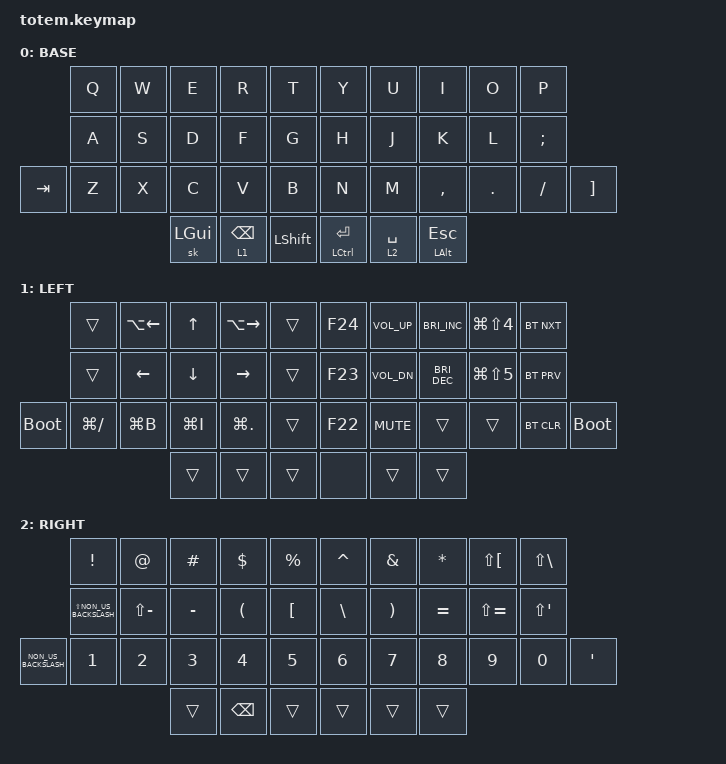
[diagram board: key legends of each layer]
//
//                                                        ▀▀▀▀▀     ▀▀▀▀▀          ▀▀█▀▀
//                                                        ▄▀▀▀▄  ▄  ▄▀▀▀▄  ▄  ▄▀▀▀▄  █  ▄▀▀▀▄
//                                                        █   █  █  █   █  █  █   █  █  █   █
//                                                         ▀▀▀   █   ▀▀▀   █   ▀▀▀   ▀   ▀▀▀
//                                                               █      ▄▄▄█▄▄▄    █   █  
//                                                               ▀      █  █  █     █▄█
//                                                             ▀▀▀▀▀    █  █  █      ▀
//                                                                      ▀  ▀  ▀
//
// ▄▄▄▄▄▄▄▄▄▄▄▄▄▄▄▄▄▄▄▄▄▄▄▄▄▄▄▄▄▄▄▄▄▄▄▄▄▄▄▄▄▄▄▄▄▄▄▄▄▄▄▄▄▄▄▄▄▄▄▄▄▄▄▄▄▄▄▄▄▄▄▄▄▄▄▄▄▄▄▄▄▄▄▄▄▄▄▄▄▄▄▄▄▄▄▄▄▄▄▄▄▄▄▄▄▄▄▄▄▄▄▄▄▄▄▄▄▄▄▄▄▄▄▄▄▄▄▄▄▄▄▄▄▄▄▄▄▄▄▄▄▄▄▄▄▄▄▄▄

#include <behaviors.dtsi>
#include <dt-bindings/zmk/bt.h>
#include <dt-bindings/zmk/keys.h>

#define BASE 0
#define NAV  1
#define SYM  2
#define ADJ  3
#define TVP1 4
#define TVP2 5

&mt {
    quick-tap-ms = <100>;
    global-quick-tap;
    flavor = "tap-preferred";
    tapping-term-ms = <170>;
};

/ {
    combos {
        compatible = "zmk,combos";

        center_bootloader {
            bindings = <&bootloader>;
            key-positions = <20 31>;
            layers = <1>;
        };
    };

    keymap {
        compatible = "zmk,keymap";

        // ▄▄▄▄▄▄▄▄▄▄▄▄▄▄▄▄▄▄▄▄▄▄▄▄▄▄▄▄▄▄▄▄▄▄▄▄▄▄▄▄▄▄▄▄▄▄▄▄▄▄▄▄▄▄▄▄▄▄▄▄▄▄▄▄▄▄▄▄▄▄▄▄▄▄▄▄▄▄▄▄▄▄▄▄▄▄▄▄▄▄▄▄▄▄▄▄▄▄▄▄▄▄▄▄▄▄▄▄▄▄▄▄▄▄▄▄▄▄▄▄▄▄▄▄▄▄▄▄▄▄▄▄▄▄▄▄▄▄▄▄▄▄▄▄▄▄▄▄▄

        base_layer {
            // ┏━━━━━━━━━━━━━━━━━━━━━━━━━━━━━━━━━━━━━━━┓

            label = "BASE";

            // ┗━━━━━━━━━━━━━━━━━━━━━━━━━━━━━━━━━━━━━━━┛
            //             ┏━━━━━━━━━━━┳━━━━━━━━━━━┳━━━━━━━━━━━┳━━━━━━━━━━━┳━━━━━━━━━━━┓   ┏━━━━━━━━━━━┳━━━━━━━━━━━┳━━━━━━━━━━━┳━━━━━━━━━━━┳━━━━━━━━━━━┓
            //             ┃     Q     ┃     W     ┃     F     ┃     P     ┃     G     ┃   ┃     J     ┃     L     ┃     U     ┃     Y     ┃     ;     ┃
            //             ┣━━━━━━━━━━━╋━━━━━━━━━━━╋━━━━━━━━━━━╋━━━━━━━━━━━╋━━━━━━━━━━━┫   ┣━━━━━━━━━━━╋━━━━━━━━━━━╋━━━━━━━━━━━╋━━━━━━━━━━━╋━━━━━━━━━━━┫
            //             ┃     A     ┃     R     ┃     S     ┃     T     ┃     D     ┃   ┃     H     ┃     N     ┃     E     ┃     I     ┃     O     ┃
            // ┏━━━━━━━━━━━╋━━━━━━━━━━━╋━━━━━━━━━━━╋━━━━━━━━━━━╋━━━━━━━━━━━╋━━━━━━━━━━━┫   ┣━━━━━━━━━━━╋━━━━━━━━━━━╋━━━━━━━━━━━╋━━━━━━━━━━━╋━━━━━━━━━━━╋━━━━━━━━━━━┓
            // ┃     Q     ┃     Z     ┃     X     ┃     C     ┃     V     ┃     B     ┃   ┃     K     ┃     M     ┃     ,     ┃     .     ┃     /     ┃     \     ┃
            // ┗━━━━━━━━━━━┻━━━━━━━━━━━┻━━━━━━━━━━━╋━━━━━━━━━━━╋━━━━━━━━━━━╋━━━━━━━━━━━┫   ┣━━━━━━━━━━━╋━━━━━━━━━━━╋━━━━━━━━━━━╋━━━━━━━━━━━┻━━━━━━━━━━━┻━━━━━━━━━━━┛
            //                                     ┃    DEL    ┃    TAB    ┃    SPC    ┃   ┃   ENTER   ┃           ┃   BSPC    ┃
            //                                     ┗━━━━━━━━━━━┻━━━━━━━━━━━┻━━━━━━━━━━━┛   ┗━━━━━━━━━━━┻━━━━━━━━━━━┻━━━━━━━━━━━┛

            bindings = <
         &kp Q  &kp W  &kp E     &kp R            &kp T             &kp Y            &kp U        &kp I                &kp O    &kp P
         &kp A  &kp S  &kp D     &kp F            &kp G             &kp H            &kp J        &kp K                &kp L    &kp SEMICOLON
&kp TAB  &kp Z  &kp X  &kp C     &kp V            &kp B             &kp N            &kp M        &kp COMMA            &kp DOT  &kp FSLH       &kp RIGHT_BRACKET
                       &sk LGUI  &lt 1 BACKSPACE  &kp LEFT_SHIFT    &mt LCTRL ENTER  &lt 2 SPACE  &mt LEFT_ALT ESCAPE
            >;
        };

        // ▄▄▄▄▄▄▄▄▄▄▄▄▄▄▄▄▄▄▄▄▄▄▄▄▄▄▄▄▄▄▄▄▄▄▄▄▄▄▄▄▄▄▄▄▄▄▄▄▄▄▄▄▄▄▄▄▄▄▄▄▄▄▄▄▄▄▄▄▄▄▄▄▄▄▄▄▄▄▄▄▄▄▄▄▄▄▄▄▄▄▄▄▄▄▄▄▄▄▄▄▄▄▄▄▄▄▄▄▄▄▄▄▄▄▄▄▄▄▄▄▄▄▄▄▄▄▄▄▄▄▄▄▄▄▄▄▄▄▄▄▄▄▄▄▄▄▄▄▄

        left {
            // ┏━━━━━━━━━━━━━━━━━━━━━━━━━━━━━━━━━━━━━━━┓

            label = "LEFT";

            // ┗━━━━━━━━━━━━━━━━━━━━━━━━━━━━━━━━━━━━━━━┛
            //             ┏━━━━━━━━━━━┳━━━━━━━━━━━┳━━━━━━━━━━━┳━━━━━━━━━━━┳━━━━━━━━━━━┓   ┏━━━━━━━━━━━┳━━━━━━━━━━━┳━━━━━━━━━━━┳━━━━━━━━━━━┳━━━━━━━━━━━┓
            //             ┃           ┃           ┃     UP    ┃           ┃     {     ┃   ┃     }     ┃     7     ┃     8     ┃     9     ┃     +     ┃
            //             ┣━━━━━━━━━━━╋━━━━━━━━━━━╋━━━━━━━━━━━╋━━━━━━━━━━━╋━━━━━━━━━━━┫   ┣━━━━━━━━━━━╋━━━━━━━━━━━╋━━━━━━━━━━━╋━━━━━━━━━━━╋━━━━━━━━━━━┫
            //             ┃   SHIFT   ┃   LEFT    ┃    DOWN   ┃   RIGHT   ┃     [     ┃   ┃     ]     ┃     4     ┃     5     ┃     6     ┃     -     ┃
            // ┏━━━━━━━━━━━╋━━━━━━━━━━━╋━━━━━━━━━━━╋━━━━━━━━━━━╋━━━━━━━━━━━╋━━━━━━━━━━━┫   ┣━━━━━━━━━━━╋━━━━━━━━━━━╋━━━━━━━━━━━╋━━━━━━━━━━━╋━━━━━━━━━━━╋━━━━━━━━━━━┓
            // ┃           ┃           ┃   P UP    ┃  C LOCK   ┃  P DOWN   ┃     (     ┃   ┃     )     ┃     1     ┃     2     ┃     3     ┃     *     ┃           ┃
            // ┗━━━━━━━━━━━┻━━━━━━━━━━━┻━━━━━━━━━━━╋━━━━━━━━━━━╋━━━━━━━━━━━╋━━━━━━━━━━━┫   ┣━━━━━━━━━━━╋━━━━━━━━━━━╋━━━━━━━━━━━╋━━━━━━━━━━━┻━━━━━━━━━━━┻━━━━━━━━━━━┛
            //                                     ┃           ┃    TAB    ┃    SPC    ┃   ┃    DEL    ┃     0     ┃           ┃
            //                                     ┗━━━━━━━━━━━┻━━━━━━━━━━━┻━━━━━━━━━━━┛   ┗━━━━━━━━━━━┻━━━━━━━━━━━┻━━━━━━━━━━━┛

            bindings = <
             &trans         &kp LA(LEFT)  &kp UP     &kp LA(RIGHT)   &trans    &kp F24  &kp C_VOLUME_UP  &kp C_BRIGHTNESS_INC  &kp LG(LS(NUMBER_4))  &bt BT_NXT
             &trans         &kp LEFT      &kp DOWN   &kp RIGHT       &trans    &kp F23  &kp C_VOL_DN     &kp C_BRI_DEC         &kp LG(LS(N5))        &bt BT_PRV
&bootloader  &kp LG(SLASH)  &kp LG(B)     &kp LG(I)  &kp LG(PERIOD)  &trans    &kp F22  &kp K_MUTE       &trans                &trans                &bt BT_CLR  &bootloader
                                          &trans     &trans          &trans    &none    &trans           &trans
            >;
        };

        // ▄▄▄▄▄▄▄▄▄▄▄▄▄▄▄▄▄▄▄▄▄▄▄▄▄▄▄▄▄▄▄▄▄▄▄▄▄▄▄▄▄▄▄▄▄▄▄▄▄▄▄▄▄▄▄▄▄▄▄▄▄▄▄▄▄▄▄▄▄▄▄▄▄▄▄▄▄▄▄▄▄▄▄▄▄▄▄▄▄▄▄▄▄▄▄▄▄▄▄▄▄▄▄▄▄▄▄▄▄▄▄▄▄▄▄▄▄▄▄▄▄▄▄▄▄▄▄▄▄▄▄▄▄▄▄▄▄▄▄▄▄▄▄▄▄▄▄▄▄

        right {
            // ┏━━━━━━━━━━━━━━━━━━━━━━━━━━━━━━━━━━━━━━━┓

            label = "RIGHT";

            // ┗━━━━━━━━━━━━━━━━━━━━━━━━━━━━━━━━━━━━━━━┛
            //             ┏━━━━━━━━━━━┳━━━━━━━━━━━┳━━━━━━━━━━━┳━━━━━━━━━━━┳━━━━━━━━━━━┓   ┏━━━━━━━━━━━┳━━━━━━━━━━━┳━━━━━━━━━━━┳━━━━━━━━━━━┳━━━━━━━━━━━┓
            //             ┃     !     ┃     @     ┃     #     ┃     $     ┃     %     ┃   ┃     ˆ     ┃     &     ┃     Ü     ┃     '     ┃     "     ┃
            //             ┣━━━━━━━━━━━╋━━━━━━━━━━━╋━━━━━━━━━━━╋━━━━━━━━━━━╋━━━━━━━━━━━┫   ┣━━━━━━━━━━━╋━━━━━━━━━━━╋━━━━━━━━━━━╋━━━━━━━━━━━╋━━━━━━━━━━━┫
            //             ┃     Ä     ┃           ┃    SZ     ┃           ┃           ┃   ┃   MUTE    ┃   YEN     ┃   EURO    ┃  POUND    ┃     Ö     ┃
            // ┏━━━━━━━━━━━╋━━━━━━━━━━━╋━━━━━━━━━━━╋━━━━━━━━━━━╋━━━━━━━━━━━╋━━━━━━━━━━━┫   ┣━━━━━━━━━━━╋━━━━━━━━━━━╋━━━━━━━━━━━╋━━━━━━━━━━━╋━━━━━━━━━━━╋━━━━━━━━━━━┓
            // ┃           ┃  EMAIL1   ┃  EMAIL2   ┃           ┃           ┃           ┃   ┃   VOL-    ┃   VOL+    ┃   LAST    ┃   NEXT    ┃     \     ┃           ┃
            // ┗━━━━━━━━━━━┻━━━━━━━━━━━┻━━━━━━━━━━━╋━━━━━━━━━━━╋━━━━━━━━━━━╋━━━━━━━━━━━┫   ┣━━━━━━━━━━━╋━━━━━━━━━━━╋━━━━━━━━━━━╋━━━━━━━━━━━┻━━━━━━━━━━━┻━━━━━━━━━━━┛
            //                                     ┃           ┃    GIF    ┃    ADJ    ┃   ┃           ┃           ┃           ┃
            //                                     ┗━━━━━━━━━━━┻━━━━━━━━━━━┻━━━━━━━━━━━┛   ┗━━━━━━━━━━━┻━━━━━━━━━━━┻━━━━━━━━━━━┛

            bindings = <
                      &kp EXCL                  &kp AT         &kp HASH   &kp DLLR              &kp PRCNT           &kp CARET      &kp AMPS               &kp STAR   &kp LS(LEFT_BRACKET)  &kp LS(BACKSLASH)
                      &kp LS(NON_US_BACKSLASH)  &kp LS(MINUS)  &kp MINUS  &kp LEFT_PARENTHESIS  &kp LEFT_BRACKET    &kp BACKSLASH  &kp RIGHT_PARENTHESIS  &kp EQUAL  &kp LS(EQUAL)         &kp LS(SQT)
&kp NON_US_BACKSLASH  &kp N1                    &kp N2         &kp N3     &kp N4                &kp N5              &kp N6         &kp N7                 &kp N8     &kp N9                &kp N0             &kp SQT
                                                               &trans     &kp BACKSPACE         &trans              &trans         &trans                 &trans
            >;
        };

        // ▄▄▄▄▄▄▄▄▄▄▄▄▄▄▄▄▄▄▄▄▄▄▄▄▄▄▄▄▄▄▄▄▄▄▄▄▄▄▄▄▄▄▄▄▄▄▄▄▄▄▄▄▄▄▄▄▄▄▄▄▄▄▄▄▄▄▄▄▄▄▄▄▄▄▄▄▄▄▄▄▄▄▄▄▄▄▄▄▄▄▄▄▄▄▄▄▄▄▄▄▄▄▄▄▄▄▄▄▄▄▄▄▄▄▄▄▄▄▄▄▄▄▄▄▄▄▄▄▄▄▄▄▄▄▄▄▄▄▄▄▄▄▄▄▄▄▄▄▄
        // ▄▄▄▄▄▄▄▄▄▄▄▄▄▄▄▄▄▄▄▄▄▄▄▄▄▄▄▄▄▄▄▄▄▄▄▄▄▄▄▄▄▄▄▄▄▄▄▄▄▄▄▄▄▄▄▄▄▄▄▄▄▄▄▄▄▄▄▄▄▄▄▄▄▄▄▄▄▄▄▄▄▄▄▄▄▄▄▄▄▄▄▄▄▄▄▄▄▄▄▄▄▄▄▄▄▄▄▄▄▄▄▄▄▄▄▄▄▄▄▄▄▄▄▄▄▄▄▄▄▄▄▄▄▄▄▄▄▄▄▄▄▄▄▄▄▄▄▄▄
        // ▄▄▄▄▄▄▄▄▄▄▄▄▄▄▄▄▄▄▄▄▄▄▄▄▄▄▄▄▄▄▄▄▄▄▄▄▄▄▄▄▄▄▄▄▄▄▄▄▄▄▄▄▄▄▄▄▄▄▄▄▄▄▄▄▄▄▄▄▄▄▄▄▄▄▄▄▄▄▄▄▄▄▄▄▄▄▄▄▄▄▄▄▄▄▄▄▄▄▄▄▄▄▄▄▄▄▄▄▄▄▄▄▄▄▄▄▄▄▄▄▄▄▄▄▄▄▄▄▄▄▄▄▄▄▄▄▄▄▄▄▄▄▄▄▄▄▄▄▄
    };
};
